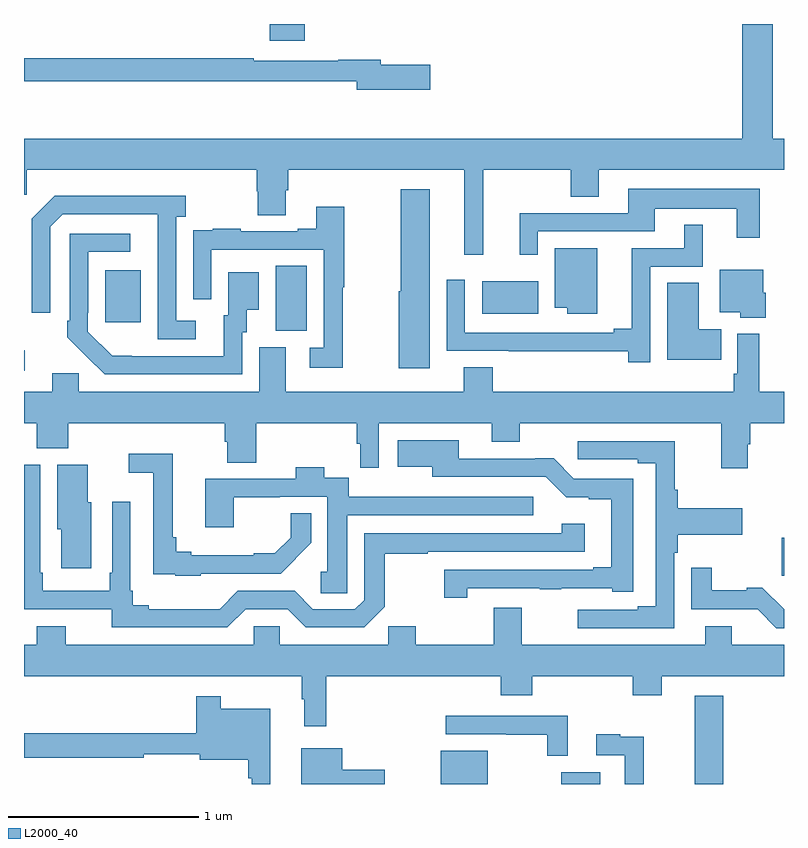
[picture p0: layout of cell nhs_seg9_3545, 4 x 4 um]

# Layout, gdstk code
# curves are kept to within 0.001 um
import gdstk
lib = gdstk.Library(unit=1e-6, precision=1e-09)
def R(c, l, rs):  # rectangles x0, y0, x1, y1
    for r in rs: c.add(gdstk.rectangle(r[:2], r[2:], *l))
def P(c, l, *ps):  # polygons
    for p in ps: c.add(gdstk.Polygon(p, *l))
L2000_40 = (2000, 40)

nhs_seg9_3545 = lib.new_cell('nhs_seg9_3545')
R(nhs_seg9_3545, L2000_40, [(315.194,1214.5,315.442,1214.674), (315.827,1214.5,316.033,1214.563), (316.529,1214.5,316.679,1214.965), (316.988,1215.596,317,1215.797), (313,1216.674,313.003,1216.783), (314.324,1216.885,314.488,1217.228), (313.427,1216.929,313.615,1217.203), (315.413,1216.976,315.706,1217.146), (314.294,1218.411,314.477,1218.5)])
P(nhs_seg9_3545, L2000_40, [(315.416,1217.732),(315.877,1217.732),(315.877,1217.59),(316.024,1217.59),(316.024,1217.732),(317,1217.732),(317,1217.896),(316.941,1217.896),(316.941,1218.5),(316.781,1218.5),(316.781,1217.896),(313,1217.896),(313,1217.601),(313.014,1217.601),(313.014,1217.732),(314.225,1217.732),(314.225,1217.619),(314.23,1217.619),(314.23,1217.494),(314.377,1217.494),(314.377,1217.626),(314.39,1217.626),(314.39,1217.732),(315.317,1217.732),(315.317,1217.286),(315.416,1217.286)],
  [(315.139,1218.285),(314.878,1218.285),(314.878,1218.311),(314.654,1218.311),(314.654,1218.306),(314.21,1218.306),(314.21,1218.319),(313,1218.319),(313,1218.198),(314.75,1218.198),(314.75,1218.155),(315.139,1218.155)],
  [(315.705,1217.409),(316.321,1217.409),(316.321,1217.528),(316.751,1217.528),(316.751,1217.376),(316.873,1217.376),(316.873,1217.632),(316.181,1217.632),(316.181,1217.505),(315.608,1217.505),(315.608,1217.286),(315.705,1217.286)],
  [(315.136,1217.629),(314.983,1217.629),(314.983,1217.094),(314.972,1217.094),(314.972,1216.689),(315.136,1216.689)],
  [(313.903,1216.938),(313.8,1216.938),(313.8,1217.486),(313.852,1217.486),(313.852,1217.596),(313.162,1217.596),(313.041,1217.475),(313.041,1216.98),(313.137,1216.98),(313.137,1217.433),(313.203,1217.499),(313.703,1217.499),(313.704,1216.842),(313.903,1216.842)],
  [(314.678,1217.115),(314.686,1217.115),(314.686,1217.539),(314.537,1217.539),(314.537,1217.422),(314.441,1217.422),(314.441,1217.409),(314.141,1217.409),(314.141,1217.422),(313.993,1217.422),(313.993,1217.415),(313.891,1217.415),(313.891,1217.306),(313.89,1217.306),(313.89,1217.052),(313.986,1217.052),(313.986,1217.313),(314.577,1217.313),(314.577,1216.797),(314.505,1216.797),(314.505,1216.692),(314.678,1216.692)],
  [(316.296,1217.223),(316.573,1217.223),(316.573,1217.443),(316.475,1217.443),(316.475,1217.319),(316.199,1217.319),(316.199,1216.895),(316.103,1216.895),(316.103,1216.875),(315.321,1216.875),(315.321,1217.155),(315.225,1217.155),(315.225,1216.779),(315.55,1216.779),(315.55,1216.778),(316.18,1216.778),(316.18,1216.719),(316.296,1216.719)],
  [(314.148,1216.878),(314.173,1216.878),(314.173,1216.997),(314.236,1216.997),(314.236,1217.194),(314.075,1217.194),(314.075,1216.968),(314.051,1216.968),(314.051,1216.752),(313.464,1216.753),(313.335,1216.881),(313.335,1216.981),(313.338,1216.981),(313.338,1217.301),(313.558,1217.301),(313.558,1217.397),(313.242,1217.397),(313.242,1216.939),(313.227,1216.939),(313.227,1216.851),(313.424,1216.656),(314.148,1216.656)],
  [(316.018,1217.32),(315.794,1217.32),(315.794,1217.006),(315.86,1217.006),(315.86,1216.976),(316.018,1216.976)],
  [(316.904,1217.086),(316.891,1217.086),(316.891,1217.206),(316.661,1217.206),(316.661,1216.982),(316.77,1216.982),(316.77,1216.955),(316.904,1216.955)],
  [(316.67,1216.894),(316.552,1216.894),(316.552,1217.138),(316.385,1217.138),(316.385,1216.733),(316.67,1216.733)],
  [(316.81,1216.289),(316.823,1216.289),(316.823,1216.4),(317,1216.4),(317,1216.564),(316.871,1216.564),(316.871,1216.87),(316.755,1216.87),(316.755,1216.66),(316.735,1216.66),(316.735,1216.564),(315.467,1216.564),(315.467,1216.694),(315.314,1216.694),(315.314,1216.564),(314.377,1216.564),(314.377,1216.8),(314.237,1216.8),(314.237,1216.564),(313.287,1216.564),(313.287,1216.662),(313.148,1216.662),(313.148,1216.564),(313,1216.564),(313,1216.4),(313.067,1216.4),(313.067,1216.266),(313.232,1216.266),(313.232,1216.4),(314.057,1216.4),(314.057,1216.302),(314.069,1216.302),(314.069,1216.192),(314.222,1216.192),(314.222,1216.4),(314.752,1216.4),(314.752,1216.29),(314.771,1216.29),(314.771,1216.164),(314.868,1216.164),(314.868,1216.4),(315.461,1216.4),(315.461,1216.301),(315.609,1216.301),(315.609,1216.4),(316.67,1216.4),(316.67,1216.161),(316.81,1216.161)],
  [(315.333,1215.531),(315.715,1215.531),(315.715,1215.526),(315.827,1215.526),(315.827,1215.531),(316.095,1215.531),(316.095,1215.513),(316.207,1215.513),(316.207,1216.107),(315.894,1216.107),(315.788,1216.214),(315.692,1216.214),(315.692,1216.212),(315.289,1216.212),(315.289,1216.309),(314.967,1216.309),(314.967,1216.169),(315.149,1216.169),(315.149,1216.116),(315.747,1216.116),(315.853,1216.01),(315.972,1216.01),(315.972,1215.999),(316.091,1215.999),(316.091,1215.64),(315.995,1215.64),(315.995,1215.627),(315.213,1215.627),(315.213,1215.48),(315.333,1215.48)],
  [(316.422,1215.716),(316.442,1215.716),(316.442,1215.812),(316.78,1215.812),(316.78,1215.952),(316.442,1215.952),(316.442,1216.048),(316.425,1216.048),(316.425,1216.305),(315.915,1216.305),(315.915,1216.209),(316.229,1216.209),(316.229,1216.189),(316.326,1216.189),(316.326,1215.435),(316.229,1215.435),(316.229,1215.417),(315.915,1215.417),(315.915,1215.321),(316.422,1215.321)],
  [(313.929,1215.606),(314.35,1215.606),(314.429,1215.685),(314.428,1215.686),(314.512,1215.769),(314.512,1215.926),(314.403,1215.926),(314.403,1215.797),(314.319,1215.714),(314.21,1215.714),(314.21,1215.703),(313.879,1215.703),(313.879,1215.722),(313.801,1215.722),(313.801,1215.799),(313.783,1215.799),(313.783,1216.237),(313.551,1216.237),(313.551,1216.139),(313.679,1216.139),(313.679,1215.605),(313.797,1215.605),(313.797,1215.596),(313.929,1215.596)],
  [(313.354,1215.984),(313.336,1215.984),(313.336,1216.18),(313.175,1216.18),(313.175,1215.84),(313.196,1215.84),(313.196,1215.636),(313.354,1215.636)],
  [(314.166,1215.42),(314.388,1215.42),(314.484,1215.324),(314.79,1215.324),(314.899,1215.433),(314.899,1215.711),(315.125,1215.711),(315.125,1215.723),(315.952,1215.723),(315.952,1215.871),(315.831,1215.871),(315.831,1215.819),(314.79,1215.819),(314.79,1215.468),(314.742,1215.42),(314.52,1215.42),(314.424,1215.516),(314.124,1215.516),(314.029,1215.421),(313.657,1215.421),(313.657,1215.44),(313.573,1215.44),(313.573,1215.517),(313.56,1215.517),(313.56,1215.985),(313.464,1215.985),(313.464,1215.613),(313.452,1215.613),(313.452,1215.516),(313.099,1215.516),(313.099,1215.613),(313.086,1215.613),(313.086,1216.179),(313,1216.179),(313,1215.42),(313.462,1215.42),(313.462,1215.324),(314.07,1215.324)],
  [(314.7,1215.613),(314.701,1215.613),(314.701,1215.915),(315.679,1215.915),(315.679,1216.011),(314.979,1216.011),(314.979,1216.012),(314.71,1216.012),(314.71,1216.111),(314.581,1216.111),(314.581,1216.168),(314.429,1216.168),(314.429,1216.107),(313.955,1216.107),(313.955,1215.852),(314.103,1215.852),(314.103,1216.01),(314.345,1216.01),(314.345,1216.011),(314.597,1216.011),(314.597,1215.616),(314.562,1215.616),(314.562,1215.505),(314.7,1215.505)],
  [(317,1215.419),(316.886,1215.533),(316.805,1215.533),(316.805,1215.521),(316.621,1215.521),(316.621,1215.637),(316.512,1215.637),(316.512,1215.419),(316.862,1215.419),(316.959,1215.321),(317,1215.321)],
  [(314.591,1215.068),(315.509,1215.068),(315.509,1214.966),(315.674,1214.966),(315.674,1215.068),(316.205,1215.068),(316.205,1214.966),(316.357,1214.966),(316.357,1215.068),(317,1215.068),(317,1215.232),(316.726,1215.232),(316.726,1215.331),(316.586,1215.331),(316.586,1215.232),(315.619,1215.232),(315.619,1215.427),(315.472,1215.427),(315.472,1215.232),(315.063,1215.232),(315.063,1215.33),(314.917,1215.33),(314.917,1215.232),(314.346,1215.232),(314.346,1215.33),(314.208,1215.33),(314.208,1215.232),(313.219,1215.232),(313.219,1215.331),(313.067,1215.331),(313.067,1215.232),(313,1215.232),(313,1215.068),(314.463,1215.068),(314.463,1214.945),(314.474,1214.945),(314.474,1214.805),(314.591,1214.805)],
  [(314.296,1214.896),(314.035,1214.896),(314.035,1214.962),(313.906,1214.962),(313.906,1214.767),(313,1214.767),(313,1214.638),(313.629,1214.638),(313.629,1214.657),(313.925,1214.657),(313.925,1214.627),(314.179,1214.627),(314.179,1214.531),(314.199,1214.531),(314.199,1214.5),(314.296,1214.5)],
  [(315.862,1214.859),(315.219,1214.859),(315.219,1214.763),(315.538,1214.763),(315.538,1214.758),(315.753,1214.758),(315.753,1214.648),(315.862,1214.648)],
  [(316.262,1214.75),(316.139,1214.75),(316.139,1214.761),(316.011,1214.761),(316.011,1214.652),(316.161,1214.652),(316.161,1214.5),(316.262,1214.5)],
  [(314.899,1214.576),(314.674,1214.576),(314.674,1214.689),(314.459,1214.689),(314.459,1214.5),(314.899,1214.5)])

lib.write_gds('nhs_seg9_3545.gds')
